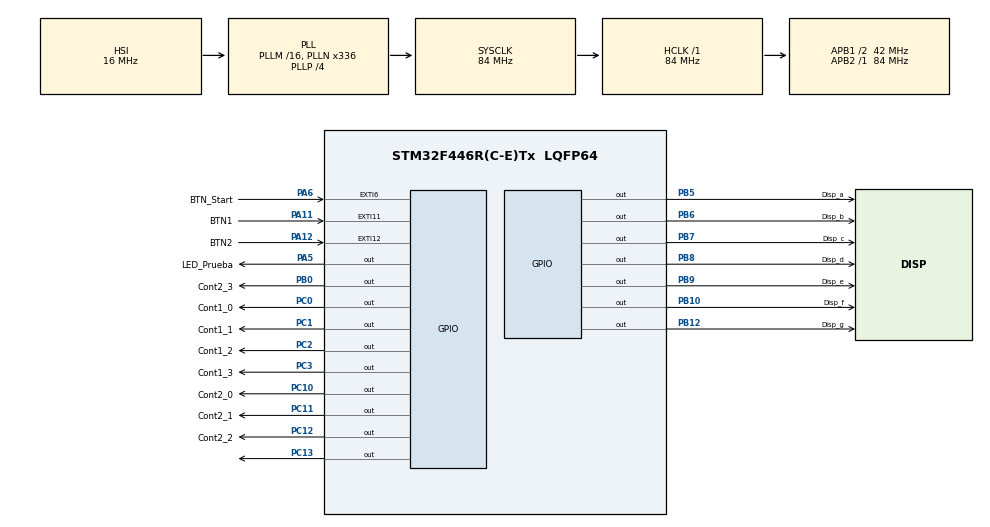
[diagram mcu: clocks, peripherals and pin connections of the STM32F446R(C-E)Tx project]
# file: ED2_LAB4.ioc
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Mcu.Family=STM32F4
Mcu.Name=STM32F446R(C-E)Tx
Mcu.Package=LQFP64
NVIC.EXTI15_10_IRQn=true\:0\:0\:false\:false\:true\:true\:true\:true
NVIC.EXTI9_5_IRQn=true\:0\:0\:false\:false\:true\:true\:true\:true
NVIC.PriorityGroup=NVIC_PRIORITYGROUP_0
PA11.GPIO_Label=BTN1
PA11.GPIO_ModeDefaultEXTI=GPIO_MODE_IT_FALLING
PA11.GPIO_PuPd=GPIO_PULLUP
PA11.Signal=GPXTI11
PA12.GPIO_Label=BTN2
PA12.GPIO_ModeDefaultEXTI=GPIO_MODE_IT_FALLING
PA12.GPIO_PuPd=GPIO_PULLUP
PA12.Signal=GPXTI12
PA13.GPIO_Label=TMS
PA13.Mode=Serial_Wire
PA13.Signal=SYS_JTMS-SWDIO
PA14.GPIO_Label=TCK
PA14.Mode=Serial_Wire
PA14.Signal=SYS_JTCK-SWCLK
PA3.GPIO_Label=USART_RX
PA3.Signal=USART2_RX
PA5.GPIO_Label=LED_Prueba
PA5.Signal=GPIO_Output
PA6.GPIO_Label=BTN_Start 
PA6.GPIO_ModeDefaultEXTI=GPIO_MODE_IT_FALLING
PA6.GPIO_PuPd=GPIO_PULLUP
PA6.Signal=GPXTI6
PB0.GPIO_Label=Cont2_3
PB0.Signal=GPIO_Output
PB10.GPIO_Label=Disp_f
PB10.Signal=GPIO_Output
PB12.GPIO_Label=Disp_g
PB12.Signal=GPIO_Output
PB3.GPIO_Label=SWO
PB3.Signal=SYS_JTDO-SWO
PB5.GPIO_Label=Disp_a
PB5.Signal=GPIO_Output
PB6.GPIO_Label=Disp_b
PB6.Signal=GPIO_Output
PB7.GPIO_Label=Disp_c
PB7.Signal=GPIO_Output
PB8.GPIO_Label=Disp_d
PB8.Signal=GPIO_Output
PB9.GPIO_Label=Disp_e
PB9.Signal=GPIO_Output
PC0.GPIO_Label=Cont1_0
PC0.Signal=GPIO_Output
PC1.GPIO_Label=Cont1_1
PC1.Signal=GPIO_Output
PC10.GPIO_Label=Cont2_0
PC10.Signal=GPIO_Output
PC11.GPIO_Label=Cont2_1
PC11.Signal=GPIO_Output
PC12.GPIO_Label=Cont2_2
PC12.Signal=GPIO_Output
PC13.Signal=GPIO_Output
PC14-OSC32_IN.Mode=LSE-External-Oscillator
PC14-OSC32_IN.Signal=RCC_OSC32_IN
PC15-OSC32_OUT.Mode=LSE-External-Oscillator
PC15-OSC32_OUT.Signal=RCC_OSC32_OUT
PC2.GPIO_Label=Cont1_2
PC2.Signal=GPIO_Output
PC3.GPIO_Label=Cont1_3
PC3.Signal=GPIO_Output
PH0-OSC_IN.Mode=HSE-External-Oscillator
PH0-OSC_IN.Signal=RCC_OSC_IN
PH1-OSC_OUT.Mode=HSE-External-Oscillator
PH1-OSC_OUT.Signal=RCC_OSC_OUT
ProjectManager.HeapSize=0x200
ProjectManager.StackSize=0x400
ProjectManager.TargetToolchain=STM32CubeIDE
RCC.48MHZClocksFreq_Value=84000000
RCC.AHBFreq_Value=84000000
RCC.APB1CLKDivider=RCC_HCLK_DIV2
RCC.APB1Freq_Value=42000000
RCC.APB1TimFreq_Value=84000000
RCC.APB2Freq_Value=84000000
RCC.APB2TimFreq_Value=84000000
RCC.CortexFreq_Value=84000000
RCC.FLatency-AdvancedSettings=FLASH_LATENCY_2
RCC.HCLKFreq_Value=84000000
RCC.HSE_VALUE=8000000
RCC.HSI_VALUE=16000000
RCC.PLLN=336
RCC.PLLP=RCC_PLLP_DIV4
RCC.SYSCLKFreq_VALUE=84000000
RCC.SYSCLKSource=RCC_SYSCLKSOURCE_PLLCLK
RCC.USBFreq_Value=168000000
RCC.VCOOutputFreq_Value=336000000
board=NUCLEO-F446RE

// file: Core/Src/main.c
/* USER CODE BEGIN Header */
/**
  ******************************************************************************
  * @file           : main.c
  * @brief          : Main program body
  ******************************************************************************
  * @attention
  *
  * Copyright (c) 2026 STMicroelectronics.
  * All rights reserved.
  *
  * This software is licensed under terms that can be found in the LICENSE file
  * in the root directory of this software component.
  * If no LICENSE file comes with this software, it is provided AS-IS.
  *
  ******************************************************************************
  */
/* USER CODE END Header */
#include "main.h"

/* USER CODE BEGIN Includes */
#include "stdint.h"

/* USER CODE END Includes */

/* USER CODE BEGIN PV */
uint8_t contador = 0;

volatile uint8_t cont1 = 0;
volatile uint8_t cont2 = 0;
volatile uint8_t gameover = 0;
volatile uint8_t conteo = 0;
volatile uint8_t segundos = 0;
volatile uint8_t inicio = 0;

/* USER CODE END PV */

void SystemClock_Config(void);
static void MX_GPIO_Init(void);

/* USER CODE BEGIN 0 */

static void Display7Seg_CA(uint8_t digit) // CA = ánodo común (0=enciende)
{
    uint8_t a=0,b=0,c=0,d=0,e=0,f=0,g=0;

    switch(digit)
    {
        case 0: a=1;b=1;c=1;d=1;e=1;f=1;g=0; break;
        case 1: a=0;b=1;c=1;d=0;e=0;f=0;g=0; break;
        case 2: a=1;b=1;c=0;d=1;e=1;f=0;g=1; break;
        case 3: a=1;b=1;c=1;d=1;e=0;f=0;g=1; break;
        case 4: a=0;b=1;c=1;d=0;e=0;f=1;g=1; break;
        case 5: a=1;b=0;c=1;d=1;e=0;f=1;g=1; break;
        default:
            a=b=c=d=e=f=g=0; break;
    }

    HAL_GPIO_WritePin(GPIOB, Disp_a_Pin, a ? GPIO_PIN_RESET : GPIO_PIN_SET);
    HAL_GPIO_WritePin(GPIOB, Disp_b_Pin, b ? GPIO_PIN_RESET : GPIO_PIN_SET);
    HAL_GPIO_WritePin(GPIOB, Disp_c_Pin, c ? GPIO_PIN_RESET : GPIO_PIN_SET);
    HAL_GPIO_WritePin(GPIOB, Disp_d_Pin, d ? GPIO_PIN_RESET : GPIO_PIN_SET);
    HAL_GPIO_WritePin(GPIOB, Disp_e_Pin, e ? GPIO_PIN_RESET : GPIO_PIN_SET);
    HAL_GPIO_WritePin(GPIOB, Disp_f_Pin, f ? GPIO_PIN_RESET : GPIO_PIN_SET);
    HAL_GPIO_WritePin(GPIOB, Disp_g_Pin, g ? GPIO_PIN_RESET : GPIO_PIN_SET);
}

/* USER CODE END 0 */

int main(void)
{

  /* MCU Configuration--------------------------------------------------------*/

  /* Reset of all peripherals, Initializes the Flash interface and the Systick. */
  HAL_Init();

  /* Configure the system clock */
  SystemClock_Config();

  /* Initialize all configured peripherals */
  MX_GPIO_Init();

  /* Infinite loop */
  while (1)
  {
    /* USER CODE BEGIN 3 */

	  if(conteo == 1)
	  {
		  gameover = 0;
		  HAL_GPIO_TogglePin(LED_Prueba_GPIO_Port, LED_Prueba_Pin);
		  Display7Seg_CA(5 - segundos);
		  HAL_Delay(1000);
		  segundos++;

		  if(segundos > 5)
		  {
			  segundos = 0;
			  conteo = 0;
			  inicio = 1;
		  }
	  }
	  else
	  {
		  HAL_Delay(10); // para no trabar el CPU cuando no está contando
	  }

    /* USER CODE END 3 */
  }
}
void SystemClock_Config(void)
{
  RCC_OscInitTypeDef RCC_OscInitStruct = {0};
  RCC_ClkInitTypeDef RCC_ClkInitStruct = {0};

  /** Configure the main internal regulator output voltage
  */
  __HAL_RCC_PWR_CLK_ENABLE();
  __HAL_PWR_VOLTAGESCALING_CONFIG(PWR_REGULATOR_VOLTAGE_SCALE3);

  /** Initializes the RCC Oscillators according to the specified parameters
  * in the RCC_OscInitTypeDef structure.
  */
  RCC_OscInitStruct.OscillatorType = RCC_OSCILLATORTYPE_HSI;
  RCC_OscInitStruct.HSIState = RCC_HSI_ON;
  RCC_OscInitStruct.HSICalibrationValue = RCC_HSICALIBRATION_DEFAULT;
  RCC_OscInitStruct.PLL.PLLState = RCC_PLL_ON;
  RCC_OscInitStruct.PLL.PLLSource = RCC_PLLSOURCE_HSI;
  RCC_OscInitStruct.PLL.PLLM = 16;
  RCC_OscInitStruct.PLL.PLLN = 336;
  RCC_OscInitStruct.PLL.PLLP = RCC_PLLP_DIV4;
  RCC_OscInitStruct.PLL.PLLQ = 2;
  RCC_OscInitStruct.PLL.PLLR = 2;
  if (HAL_RCC_OscConfig(&RCC_OscInitStruct) != HAL_OK)
  {
    Error_Handler();
  }

  /** Initializes the CPU, AHB and APB buses clocks
  */
  RCC_ClkInitStruct.ClockType = RCC_CLOCKTYPE_HCLK|RCC_CLOCKTYPE_SYSCLK
                              |RCC_CLOCKTYPE_PCLK1|RCC_CLOCKTYPE_PCLK2;
  RCC_ClkInitStruct.SYSCLKSource = RCC_SYSCLKSOURCE_PLLCLK;
  RCC_ClkInitStruct.AHBCLKDivider = RCC_SYSCLK_DIV1;
  RCC_ClkInitStruct.APB1CLKDivider = RCC_HCLK_DIV2;
  RCC_ClkInitStruct.APB2CLKDivider = RCC_HCLK_DIV1;

  if (HAL_RCC_ClockConfig(&RCC_ClkInitStruct, FLASH_LATENCY_2) != HAL_OK)
  {
    Error_Handler();
  }
}

static void MX_GPIO_Init(void)
{
  GPIO_InitTypeDef GPIO_InitStruct = {0};

  /* GPIO Ports Clock Enable */
  __HAL_RCC_GPIOC_CLK_ENABLE();
  __HAL_RCC_GPIOH_CLK_ENABLE();
  __HAL_RCC_GPIOA_CLK_ENABLE();
  __HAL_RCC_GPIOB_CLK_ENABLE();

  /*Configure GPIO pin Output Level */
  HAL_GPIO_WritePin(GPIOC, GPIO_PIN_13|Cont1_0_Pin|Cont1_1_Pin|Cont1_2_Pin
                          |Cont1_3_Pin|Cont2_0_Pin|Cont2_1_Pin|Cont2_2_Pin, GPIO_PIN_RESET);

  /*Configure GPIO pin Output Level */
  HAL_GPIO_WritePin(LED_Prueba_GPIO_Port, LED_Prueba_Pin, GPIO_PIN_RESET);

  /*Configure GPIO pin Output Level */
  HAL_GPIO_WritePin(GPIOB, Cont2_3_Pin|Disp_f_Pin|Disp_g_Pin|Disp_a_Pin
                          |Disp_b_Pin|Disp_c_Pin|Disp_d_Pin|Disp_e_Pin, GPIO_PIN_RESET);

  /*Configure GPIO pins : PC13 Cont1_0_Pin Cont1_1_Pin Cont1_2_Pin
                           Cont1_3_Pin Cont2_0_Pin Cont2_1_Pin Cont2_2_Pin */
  GPIO_InitStruct.Pin = GPIO_PIN_13|Cont1_0_Pin|Cont1_1_Pin|Cont1_2_Pin
                          |Cont1_3_Pin|Cont2_0_Pin|Cont2_1_Pin|Cont2_2_Pin;
  GPIO_InitStruct.Mode = GPIO_MODE_OUTPUT_PP;
  GPIO_InitStruct.Pull = GPIO_NOPULL;
  GPIO_InitStruct.Speed = GPIO_SPEED_FREQ_LOW;
  HAL_GPIO_Init(GPIOC, &GPIO_InitStruct);

  /*Configure GPIO pin : USART_RX_Pin */
  GPIO_InitStruct.Pin = USART_RX_Pin;
  GPIO_InitStruct.Mode = GPIO_MODE_AF_PP;
  GPIO_InitStruct.Pull = GPIO_NOPULL;
  GPIO_InitStruct.Speed = GPIO_SPEED_FREQ_VERY_HIGH;
  GPIO_InitStruct.Alternate = GPIO_AF7_USART2;
  HAL_GPIO_Init(USART_RX_GPIO_Port, &GPIO_InitStruct);

  /*Configure GPIO pin : LED_Prueba_Pin */
  GPIO_InitStruct.Pin = LED_Prueba_Pin;
  GPIO_InitStruct.Mode = GPIO_MODE_OUTPUT_PP;
  GPIO_InitStruct.Pull = GPIO_NOPULL;
  GPIO_InitStruct.Speed = GPIO_SPEED_FREQ_LOW;
  HAL_GPIO_Init(LED_Prueba_GPIO_Port, &GPIO_InitStruct);

  /*Configure GPIO pins : BTN_Start_Pin BTN1_Pin BTN2_Pin */
  GPIO_InitStruct.Pin = BTN_Start_Pin|BTN1_Pin|BTN2_Pin;
  GPIO_InitStruct.Mode = GPIO_MODE_IT_FALLING;
  GPIO_InitStruct.Pull = GPIO_PULLUP;
  HAL_GPIO_Init(GPIOA, &GPIO_InitStruct);

  /*Configure GPIO pins : Cont2_3_Pin Disp_f_Pin Disp_g_Pin Disp_a_Pin
                           Disp_b_Pin Disp_c_Pin Disp_d_Pin Disp_e_Pin */
  GPIO_InitStruct.Pin = Cont2_3_Pin|Disp_f_Pin|Disp_g_Pin|Disp_a_Pin
                          |Disp_b_Pin|Disp_c_Pin|Disp_d_Pin|Disp_e_Pin;
  GPIO_InitStruct.Mode = GPIO_MODE_OUTPUT_PP;
  GPIO_InitStruct.Pull = GPIO_NOPULL;
  GPIO_InitStruct.Speed = GPIO_SPEED_FREQ_LOW;
  HAL_GPIO_Init(GPIOB, &GPIO_InitStruct);

  /* EXTI interrupt init*/
  HAL_NVIC_SetPriority(EXTI9_5_IRQn, 0, 0);
  HAL_NVIC_EnableIRQ(EXTI9_5_IRQn);

  HAL_NVIC_SetPriority(EXTI15_10_IRQn, 0, 0);
  HAL_NVIC_EnableIRQ(EXTI15_10_IRQn);

}

/* USER CODE BEGIN 4 */
void HAL_GPIO_EXTI_Callback(uint16_t GPIO_Pin){

	if(GPIO_Pin == BTN1_Pin){

		if(gameover == 0 && inicio == 1){

			cont1++;

			if(cont1 == 1){

				HAL_GPIO_WritePin(GPIOC, Cont1_0_Pin, GPIO_PIN_SET);
				HAL_GPIO_WritePin(GPIOC, Cont1_1_Pin, GPIO_PIN_RESET);
				HAL_GPIO_WritePin(GPIOC, Cont1_2_Pin, GPIO_PIN_RESET);
				HAL_GPIO_WritePin(GPIOC, Cont1_3_Pin, GPIO_PIN_RESET);

			}

			else if(cont1 == 2){

				HAL_GPIO_WritePin(GPIOC, Cont1_0_Pin, GPIO_PIN_RESET);
				HAL_GPIO_WritePin(GPIOC, Cont1_1_Pin, GPIO_PIN_SET);
				HAL_GPIO_WritePin(GPIOC, Cont1_2_Pin, GPIO_PIN_RESET);
				HAL_GPIO_WritePin(GPIOC, Cont1_3_Pin, GPIO_PIN_RESET);

			}

			else if(cont1 == 3){

				HAL_GPIO_WritePin(GPIOC, Cont1_0_Pin, GPIO_PIN_RESET);
				HAL_GPIO_WritePin(GPIOC, Cont1_1_Pin, GPIO_PIN_RESET);
				HAL_GPIO_WritePin(GPIOC, Cont1_2_Pin, GPIO_PIN_SET);
				HAL_GPIO_WritePin(GPIOC, Cont1_3_Pin, GPIO_PIN_RESET);

			}

			else if(cont1 == 4){
				if(cont2 < 4){

					HAL_GPIO_WritePin(GPIOC, Cont1_0_Pin, GPIO_PIN_SET);
					HAL_GPIO_WritePin(GPIOC, Cont1_1_Pin, GPIO_PIN_SET);
					HAL_GPIO_WritePin(GPIOC, Cont1_2_Pin, GPIO_PIN_SET);
					HAL_GPIO_WritePin(GPIOC, Cont1_3_Pin, GPIO_PIN_SET);

					HAL_GPIO_WritePin(GPIOC, Cont2_0_Pin, GPIO_PIN_RESET);
					HAL_GPIO_WritePin(GPIOC, Cont2_1_Pin, GPIO_PIN_RESET);
					HAL_GPIO_WritePin(GPIOC, Cont2_2_Pin, GPIO_PIN_RESET);
					HAL_GPIO_WritePin(GPIOB, Cont2_3_Pin, GPIO_PIN_RESET);

					Display7Seg_CA(2);
					cont1 = 0;
					cont2 = 0;
					gameover = 1;
					inicio = 0;

				}
			}

		}

	}

	else if(GPIO_Pin == BTN2_Pin){

		if(gameover == 0 && inicio == 1){

			cont2++;

			if(cont2 == 1){

				HAL_GPIO_WritePin(GPIOC, Cont2_0_Pin, GPIO_PIN_SET);
				HAL_GPIO_WritePin(GPIOC, Cont2_1_Pin, GPIO_PIN_RESET);
				HAL_GPIO_WritePin(GPIOC, Cont2_2_Pin, GPIO_PIN_RESET);
				HAL_GPIO_WritePin(GPIOB, Cont2_3_Pin, GPIO_PIN_RESET);

			}

			else if(cont2 == 2){

				HAL_GPIO_WritePin(GPIOC, Cont2_0_Pin, GPIO_PIN_RESET);
				HAL_GPIO_WritePin(GPIOC, Cont2_1_Pin, GPIO_PIN_SET);
				HAL_GPIO_WritePin(GPIOC, Cont2_2_Pin, GPIO_PIN_RESET);
				HAL_GPIO_WritePin(GPIOB, Cont2_3_Pin, GPIO_PIN_RESET);

			}

			else if(cont2 == 3){

				HAL_GPIO_WritePin(GPIOC, Cont2_0_Pin, GPIO_PIN_RESET);
				HAL_GPIO_WritePin(GPIOC, Cont2_1_Pin, GPIO_PIN_RESET);
				HAL_GPIO_WritePin(GPIOC, Cont2_2_Pin, GPIO_PIN_SET);
				HAL_GPIO_WritePin(GPIOB, Cont2_3_Pin, GPIO_PIN_RESET);

			}

			else if(cont2 == 4){
				if(cont1 < 4){

					HAL_GPIO_WritePin(GPIOC, Cont1_0_Pin, GPIO_PIN_RESET);
					HAL_GPIO_WritePin(GPIOC, Cont1_1_Pin, GPIO_PIN_RESET);
					HAL_GPIO_WritePin(GPIOC, Cont1_2_Pin, GPIO_PIN_RESET);
					HAL_GPIO_WritePin(GPIOC, Cont1_3_Pin, GPIO_PIN_RESET);

					HAL_GPIO_WritePin(GPIOC, Cont2_0_Pin, GPIO_PIN_SET);
					HAL_GPIO_WritePin(GPIOC, Cont2_1_Pin, GPIO_PIN_SET);
					HAL_GPIO_WritePin(GPIOC, Cont2_2_Pin, GPIO_PIN_SET);
					HAL_GPIO_WritePin(GPIOB, Cont2_3_Pin, GPIO_PIN_SET);

					Display7Seg_CA(1);
					cont1 = 0;
					cont2 = 0;
					gameover = 1;
					inicio = 0;
				}
			}
		}
	}

	else if(GPIO_Pin == BTN_Start_Pin){

		HAL_GPIO_WritePin(GPIOC, Cont1_0_Pin, GPIO_PIN_RESET);
		HAL_GPIO_WritePin(GPIOC, Cont1_1_Pin, GPIO_PIN_RESET);
		HAL_GPIO_WritePin(GPIOC, Cont1_2_Pin, GPIO_PIN_RESET);
		HAL_GPIO_WritePin(GPIOC, Cont1_3_Pin, GPIO_PIN_RESET);

		HAL_GPIO_WritePin(GPIOC, Cont2_0_Pin, GPIO_PIN_RESET);
		HAL_GPIO_WritePin(GPIOC, Cont2_1_Pin, GPIO_PIN_RESET);
		HAL_GPIO_WritePin(GPIOC, Cont2_2_Pin, GPIO_PIN_RESET);
		HAL_GPIO_WritePin(GPIOB, Cont2_3_Pin, GPIO_PIN_RESET);

		conteo = 1;
	}
}

/* USER CODE END 4 */

void Error_Handler(void)
{
  __disable_irq();
  while (1)
  {
  }
}
